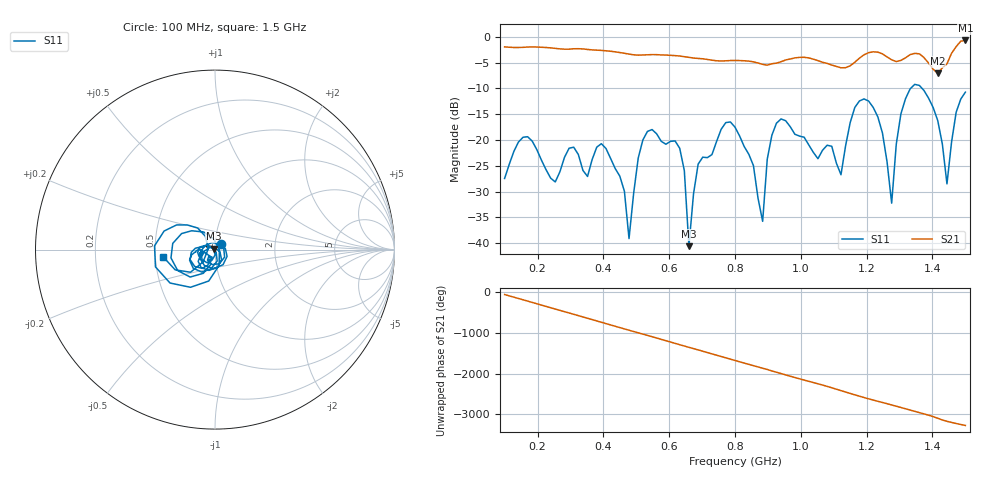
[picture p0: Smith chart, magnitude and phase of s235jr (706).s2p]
! NanoVNA-App
! Date: 2025-09-25 15:09:40
! Start: 100MHz Stop: 1,5GHz Points: 101
! S-Parameter data: F S11 S21 S12 S22
# Hz S RI R 50
!  Frequency  S11_Real  S11_Imag  S21_Real  S21_Imag  S12_Real  S12_Imag  S22_Real  S22_Imag
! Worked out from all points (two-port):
!   101 points, 100 MHz to 1.5 GHz, reference 50 ohm
!   highest |S21| = -0.72 dB at 1.5 GHz (marker M1); lowest = -7.1 dB at 1.416 GHz (marker M2)
!   |S21| within 3 dB of the highest: start of sweep to 629.5 MHz; 1.187 GHz to 1.257 GHz (70.09 MHz wide, 5.73 % of centre) (the widest 2 of 4)
!   lowest |S11| = -40.6 dB at 660 MHz (marker M3), VSWR 1.02, Z = 49.2 + j0.535 ohm
!   |S11| at or under -10 dB: start of sweep to 1.334 GHz; 1.368 GHz to end of sweep
!   S12 and S22 are empty: the file has one direction only
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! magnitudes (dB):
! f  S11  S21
! 100 MHz  -27.5  -2.0
! 170 MHz  -19.4  -2.0
! 338 MHz  -25.9  -2.4
! 408 MHz  -21.7  -2.7
! 478 MHz  -39.1  -3.4
! 520 MHz  -20.0  -3.5
! 576 MHz  -20.3  -3.5
! 632 MHz  -21.6  -3.7
! 660 MHz  -40.6  -4.0
! 688 MHz  -24.7  -4.2
! 800 MHz  -17.5  -4.6
! 884 MHz  -35.8  -5.4
! 926 MHz  -16.8  -5.1
! 1.038 GHz  -22.4  -4.4
! 1.122 GHz  -26.7  -6.0
! 1.206 GHz  -12.5  -3.1
! 1.276 GHz  -32.3  -4.5
! 1.304 GHz  -15.0  -4.6
! 1.332 GHz  -10.1  -3.5
! 1.416 GHz  -16.2  -7.1
! 1.444 GHz  -28.5  -5.2
! 1.5 GHz  -10.7  -0.7
